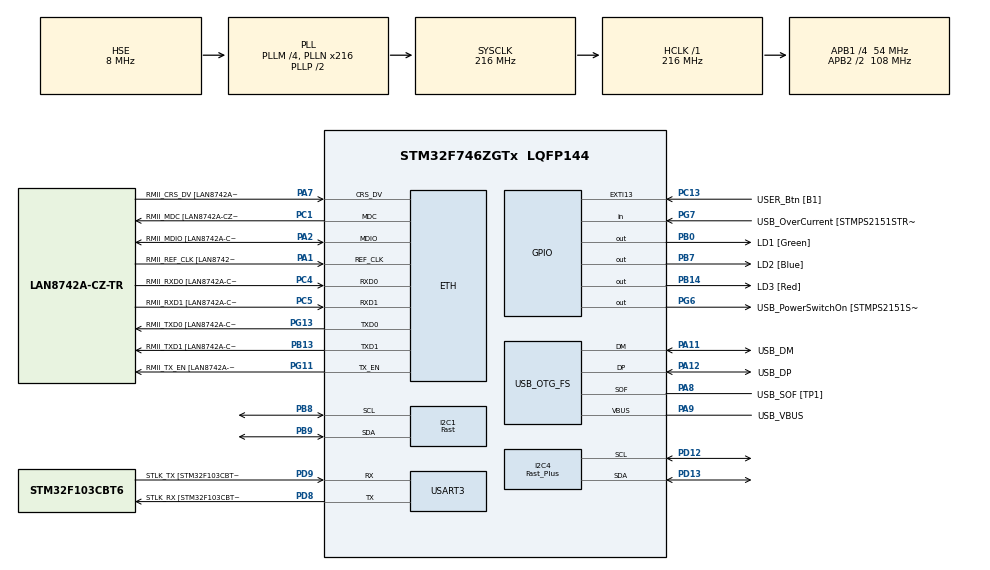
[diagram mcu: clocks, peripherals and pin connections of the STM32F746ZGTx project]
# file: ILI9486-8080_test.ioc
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ETH.MediaInterface=HAL_ETH_RMII_MODE
ETH.PHY_Name=LAN8742A_PHY_ADDRESS
ETH.PHY_Value=0
ETH.PhyAddress=0
FREERTOS.Tasks01=defaultTask,24,256,StartDefaultTask,Default,NULL,Dynamic,NULL,NULL;myTask02,8,256,ScreenUpdateTask01,Default,NULL,Dynamic,NULL,NULL
I2C1.I2C_Speed_Mode=I2C_Fast
I2C1.Timing=0x6000030D
I2C4.I2C_Speed_Mode=I2C_Fast_Plus
I2C4.Timing=0x00200922
Mcu.Family=STM32F7
Mcu.Name=STM32F746ZGTx
Mcu.Package=LQFP144
NVIC.EXTI15_10_IRQn=true\:5\:0\:false\:false\:true\:true\:true\:true\:true
NVIC.PriorityGroup=NVIC_PRIORITYGROUP_4
NVIC.TIM6_DAC_IRQn=true\:15\:0\:false\:false\:true\:false\:false\:true\:true
NVIC.TimeBase=TIM6_DAC_IRQn
NVIC.TimeBaseIP=TIM6
PA1.GPIO_Label=RMII_REF_CLK [LAN8742A-CZ-TR_REFCLK0]
PA1.Mode=RMII
PA1.Signal=ETH_REF_CLK
PA10.GPIO_Label=USB_ID
PA10.Signal=USB_OTG_FS_ID
PA11.GPIO_Label=USB_DM
PA11.Mode=Device_Only
PA11.Signal=USB_OTG_FS_DM
PA12.GPIO_Label=USB_DP
PA12.Mode=Device_Only
PA12.Signal=USB_OTG_FS_DP
PA13.GPIO_Label=TMS
PA13.Mode=Trace_Asynchronous_SW
PA13.Signal=SYS_JTMS-SWDIO
PA14.GPIO_Label=TCK
PA14.Mode=Trace_Asynchronous_SW
PA14.Signal=SYS_JTCK-SWCLK
PA2.GPIO_Label=RMII_MDIO [LAN8742A-CZ-TR_MDIO]
PA2.Mode=RMII
PA2.Signal=ETH_MDIO
PA7.GPIO_Label=RMII_CRS_DV [LAN8742A-CZ-TR_CRS_DV]
PA7.Mode=RMII
PA7.Signal=ETH_CRS_DV
PA8.GPIO_Label=USB_SOF [TP1]
PA8.Mode=Activate_SOF_FS
PA8.Signal=USB_OTG_FS_SOF
PA9.GPIO_Label=USB_VBUS
PA9.Mode=Activate_VBUS
PA9.Signal=USB_OTG_FS_VBUS
PB0.GPIO_Label=LD1 [Green]
PB0.Signal=GPIO_Output
PB13.GPIO_Label=RMII_TXD1 [LAN8742A-CZ-TR_TXD1]
PB13.Mode=RMII
PB13.Signal=ETH_TXD1
PB14.GPIO_Label=LD3 [Red]
PB14.Signal=GPIO_Output
PB3.GPIO_Label=SW0
PB3.Mode=Trace_Asynchronous_SW
PB3.Signal=SYS_JTDO-SWO
PB7.GPIO_Label=LD2 [Blue]
PB7.Signal=GPIO_Output
PB8.Mode=I2C
PB8.Signal=I2C1_SCL
PB9.Mode=I2C
PB9.Signal=I2C1_SDA
PC1.GPIO_Label=RMII_MDC [LAN8742A-CZ-TR_MDC]
PC1.Mode=RMII
PC1.Signal=ETH_MDC
PC13.GPIO_Label=USER_Btn [B1]
PC13.GPIO_ModeDefaultEXTI=GPIO_MODE_IT_RISING
PC13.GPIO_PuPd=GPIO_PULLDOWN
PC13.Signal=GPXTI13
PC14/OSC32_IN.Mode=LSE-External-Oscillator
PC14/OSC32_IN.Signal=RCC_OSC32_IN
PC15/OSC32_OUT.Mode=LSE-External-Oscillator
PC15/OSC32_OUT.Signal=RCC_OSC32_OUT
PC4.GPIO_Label=RMII_RXD0 [LAN8742A-CZ-TR_RXD0]
PC4.Mode=RMII
PC4.Signal=ETH_RXD0
PC5.GPIO_Label=RMII_RXD1 [LAN8742A-CZ-TR_RXD1]
PC5.Mode=RMII
PC5.Signal=ETH_RXD1
PD12.Mode=I2C
PD12.Signal=I2C4_SCL
PD13.Mode=I2C
PD13.Signal=I2C4_SDA
PD8.GPIO_Label=STLK_RX [STM32F103CBT6_PA3]
PD8.GPIO_PuPd=GPIO_PULLUP
PD8.Mode=Asynchronous
PD8.Signal=USART3_TX
PD9.GPIO_Label=STLK_TX [STM32F103CBT6_PA2]
PD9.GPIO_PuPd=GPIO_PULLUP
PD9.Mode=Asynchronous
PD9.Signal=USART3_RX
PG11.GPIO_Label=RMII_TX_EN [LAN8742A-CZ-TR_TXEN]
PG11.Mode=RMII
PG11.Signal=ETH_TX_EN
PG13.GPIO_Label=RMII_TXD0 [LAN8742A-CZ-TR_TXD0]
PG13.Mode=RMII
PG13.Signal=ETH_TXD0
PG6.GPIO_Label=USB_PowerSwitchOn [STMPS2151STR_EN]
PG6.Signal=GPIO_Output
PG7.GPIO_Label=USB_OverCurrent [STMPS2151STR_FAULT]
PG7.Signal=GPIO_Input
PH0/OSC_IN.GPIO_Label=MCO [STM32F103CBT6_PA8]
PH0/OSC_IN.Mode=HSE-External-Clock-Source
PH0/OSC_IN.Signal=RCC_OSC_IN
PH1/OSC_OUT.Mode=HSE-External-Clock-Source
PH1/OSC_OUT.Signal=RCC_OSC_OUT
ProjectManager.HeapSize=0x200
ProjectManager.StackSize=0x800
ProjectManager.TargetToolchain=CMake
RCC.48MHZClocksFreq_Value=24000000
RCC.AHBFreq_Value=216000000
RCC.APB1CLKDivider=RCC_HCLK_DIV4
RCC.APB1Freq_Value=54000000
RCC.APB1TimFreq_Value=108000000
RCC.APB2CLKDivider=RCC_HCLK_DIV2
RCC.APB2Freq_Value=108000000
RCC.APB2TimFreq_Value=216000000
RCC.CortexFreq_Value=216000000
RCC.HCLKFreq_Value=216000000
RCC.HSE_VALUE=8000000
RCC.HSI_VALUE=16000000
RCC.PLLM=4
RCC.PLLMUL=RCC_PLL_MUL9
RCC.PLLN=216
RCC.PLLQ=9
RCC.PRESCALERUSB=RCC_USBCLKSOURCE_PLL_DIV1_5
RCC.SYSCLKFreq_VALUE=216000000
RCC.SYSCLKSource=RCC_SYSCLKSOURCE_PLLCLK
RCC.SYSCLKSourceVirtual=RCC_SYSCLKSOURCE_PLLCLK
RCC.USBFreq_Value=48000000
RCC.VCOOutputFreq_Value=432000000
RTC.Alarm-Alarm\ A=RTC_ALARM_A
USART3.VirtualMode-Asynchronous=VM_ASYNC
USB_OTG_FS.VirtualMode=Device_Only
VP_FREERTOS_VS_CMSIS_V2.Mode=CMSIS_V2
VP_RTC_VS_RTC_Activate.Mode=RTC_Enabled
VP_RTC_VS_RTC_Alarm_A_Intern.Mode=Alarm A
VP_RTC_VS_RTC_Calendar.Mode=RTC_Calendar
VP_SYS_VS_tim6.Mode=TIM6
board=NUCLEO-F746ZG

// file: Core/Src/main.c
/* USER CODE BEGIN Header */
/**
  ******************************************************************************
  * @file           : main.c
  * @brief          : Main program body
  ******************************************************************************
  * @attention
  *
  * Copyright (c) 2025 STMicroelectronics.
  * All rights reserved.
  *
  * This software is licensed under terms that can be found in the LICENSE file
  * in the root directory of this software component.
  * If no LICENSE file comes with this software, it is provided AS-IS.
  *
  ******************************************************************************
  */
/* USER CODE END Header */
#include "main.h"
#include "cmsis_os.h"
#include "eth.h"
#include "i2c.h"
#include "rtc.h"
#include "usart.h"
#include "usb_otg.h"
#include "gpio.h"

/* USER CODE BEGIN Includes */

// #include "ssd1306.h"
#include "stm32_adafruit_lcd.h"
#include <stdint.h>

/* USER CODE END Includes */

void SystemClock_Config(void);
void MX_FREERTOS_Init(void);

int main(void)
{

  /* MCU Configuration--------------------------------------------------------*/

  /* Reset of all peripherals, Initializes the Flash interface and the Systick. */
  HAL_Init();

  /* Configure the system clock */
  SystemClock_Config();

  /* Initialize all configured peripherals */
  MX_GPIO_Init();
  MX_ETH_Init();
  MX_I2C1_Init();
  MX_USART3_UART_Init();
  MX_USB_OTG_FS_PCD_Init();
  MX_I2C4_Init();
  MX_RTC_Init();
  /* USER CODE BEGIN 2 */

  // ssd1306_Init();
  BSP_LCD_Init();
  BSP_LCD_SetFont(&Font16);
  BSP_LCD_DisplayOn();
  BSP_LCD_Clear(LCD_COLOR_BLACK);
  // BSP_LCD_SetTextColor(LCD_COLOR_GREEN);
  // BSP_LCD_SetBackColor(LCD_COLOR_BLACK);
  // BSP_LCD_DisplayStringAtLine(0, (uint8_t *)"LCD disp test");

  /* USER CODE END 2 */

  /* Init scheduler */
  osKernelInitialize();  /* Call init function for freertos objects (in cmsis_os2.c) */
  MX_FREERTOS_Init();

  /* Start scheduler */
  osKernelStart();

  /* We should never get here as control is now taken by the scheduler */

  /* Infinite loop */
  while (1)
  {

  }
}

void SystemClock_Config(void)
{
  RCC_OscInitTypeDef RCC_OscInitStruct = {0};
  RCC_ClkInitTypeDef RCC_ClkInitStruct = {0};

  /** Configure LSE Drive Capability
  */
  HAL_PWR_EnableBkUpAccess();

  /** Configure the main internal regulator output voltage
  */
  __HAL_RCC_PWR_CLK_ENABLE();
  __HAL_PWR_VOLTAGESCALING_CONFIG(PWR_REGULATOR_VOLTAGE_SCALE1);

  /** Initializes the RCC Oscillators according to the specified parameters
  * in the RCC_OscInitTypeDef structure.
  */
  RCC_OscInitStruct.OscillatorType = RCC_OSCILLATORTYPE_LSI|RCC_OSCILLATORTYPE_HSE;
  RCC_OscInitStruct.HSEState = RCC_HSE_BYPASS;
  RCC_OscInitStruct.LSIState = RCC_LSI_ON;
  RCC_OscInitStruct.PLL.PLLState = RCC_PLL_ON;
  RCC_OscInitStruct.PLL.PLLSource = RCC_PLLSOURCE_HSE;
  RCC_OscInitStruct.PLL.PLLM = 4;
  RCC_OscInitStruct.PLL.PLLN = 216;
  RCC_OscInitStruct.PLL.PLLP = RCC_PLLP_DIV2;
  RCC_OscInitStruct.PLL.PLLQ = 9;
  if (HAL_RCC_OscConfig(&RCC_OscInitStruct) != HAL_OK)
  {
    Error_Handler();
  }

  /** Activate the Over-Drive mode
  */
  if (HAL_PWREx_EnableOverDrive() != HAL_OK)
  {
    Error_Handler();
  }

  /** Initializes the CPU, AHB and APB buses clocks
  */
  RCC_ClkInitStruct.ClockType = RCC_CLOCKTYPE_HCLK|RCC_CLOCKTYPE_SYSCLK
                              |RCC_CLOCKTYPE_PCLK1|RCC_CLOCKTYPE_PCLK2;
  RCC_ClkInitStruct.SYSCLKSource = RCC_SYSCLKSOURCE_PLLCLK;
  RCC_ClkInitStruct.AHBCLKDivider = RCC_SYSCLK_DIV1;
  RCC_ClkInitStruct.APB1CLKDivider = RCC_HCLK_DIV4;
  RCC_ClkInitStruct.APB2CLKDivider = RCC_HCLK_DIV2;

  if (HAL_RCC_ClockConfig(&RCC_ClkInitStruct, FLASH_LATENCY_7) != HAL_OK)
  {
    Error_Handler();
  }
}

void HAL_TIM_PeriodElapsedCallback(TIM_HandleTypeDef *htim)
{
  if (htim->Instance == TIM6)
  {
    HAL_IncTick();
  }
}

void Error_Handler(void)
{
  __disable_irq();
  while (1)
  {
  }
}

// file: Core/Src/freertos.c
/* USER CODE BEGIN Header */
/**
	******************************************************************************
	* File Name          : freertos.c
	* Description        : Code for freertos applications
	******************************************************************************
	* @attention
	*
	* Copyright (c) 2025 STMicroelectronics.
	* All rights reserved.
	*
	* This software is licensed under terms that can be found in the LICENSE file
	* in the root directory of this software component.
	* If no LICENSE file comes with this software, it is provided AS-IS.
	*
	******************************************************************************
	*/
/* USER CODE END Header */

#include "FreeRTOS.h"
#include "task.h"
#include "main.h"
#include "cmsis_os.h"

/* USER CODE BEGIN Includes */

// #include "ssd1306.h"
#include "lcd.h"
#include "stm32_adafruit_lcd.h"

/* USER CODE END Includes */

/* Definitions for defaultTask */
osThreadId_t defaultTaskHandle;
const osThreadAttr_t defaultTask_attributes = {
  .name = "defaultTask",
  .stack_size = 256 * 4,
  .priority = (osPriority_t) osPriorityNormal,
};
/* Definitions for myTask02 */
osThreadId_t myTask02Handle;
const osThreadAttr_t myTask02_attributes = {
  .name = "myTask02",
  .stack_size = 256 * 4,
  .priority = (osPriority_t) osPriorityLow,
};

void StartDefaultTask(void *argument);
void ScreenUpdateTask01(void *argument);

void MX_FREERTOS_Init(void); /* (MISRA C 2004 rule 8.1) */

void MX_FREERTOS_Init(void) {

  /* Create the thread(s) */
  /* creation of defaultTask */
  defaultTaskHandle = osThreadNew(StartDefaultTask, NULL, &defaultTask_attributes);

  /* creation of myTask02 */
  myTask02Handle = osThreadNew(ScreenUpdateTask01, NULL, &myTask02_attributes);

}

void StartDefaultTask(void *argument)
{
  /* USER CODE BEGIN StartDefaultTask */
	/* Infinite loop */
	for(;;)
	{
		HAL_GPIO_TogglePin(LD3_GPIO_Port, LD3_Pin);
		vTaskDelay(pdMS_TO_TICKS(500));
		HAL_GPIO_TogglePin(LD3_GPIO_Port, LD3_Pin);

		HAL_GPIO_TogglePin(LD2_GPIO_Port, LD2_Pin);
		vTaskDelay(pdMS_TO_TICKS(500));
		HAL_GPIO_TogglePin(LD2_GPIO_Port, LD2_Pin);

		// HAL_GPIO_TogglePin(LD1_GPIO_Port, LD1_Pin);
		// vTaskDelay(pdMS_TO_TICKS(500));
		// HAL_GPIO_TogglePin(LD1_GPIO_Port, LD1_Pin);

		// osDelay(1);
	}
  /* USER CODE END StartDefaultTask */
}

void ScreenUpdateTask01(void *argument)
{
  /* USER CODE BEGIN ScreenUpdateTask01 */
	/* Infinite loop */
	for(;;)
	{
		// ssd1306_UpdateScreen();

		// BSP_LCD_Clear(LCD_COLOR_BLACK);
		// BSP_LCD_Clear(LCD_COLOR_WHITE);

		vTaskDelay(pdMS_TO_TICKS(10));
	}
  /* USER CODE END ScreenUpdateTask01 */
}
